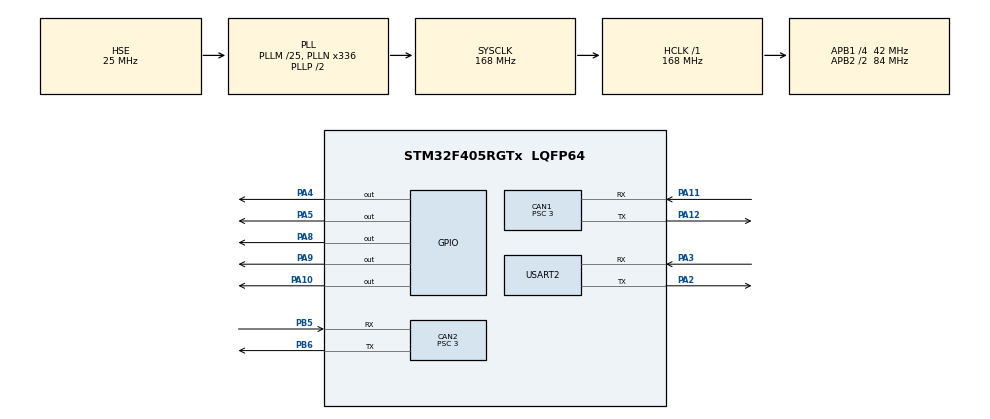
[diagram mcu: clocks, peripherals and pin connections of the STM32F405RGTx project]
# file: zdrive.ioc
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CAN1.AWUM=ENABLE
CAN1.BS1=CAN_BS1_9TQ
CAN1.BS2=CAN_BS2_4TQ
CAN1.CalculateBaudRate=1000000
CAN1.CalculateTimeBit=1000
CAN1.CalculateTimeQuantum=71.42857142857143
CAN1.Prescaler=3
CAN2.AWUM=ENABLE
CAN2.BS1=CAN_BS1_9TQ
CAN2.BS2=CAN_BS2_4TQ
CAN2.CalculateBaudRate=1000000
CAN2.CalculateTimeBit=1000
CAN2.CalculateTimeQuantum=71.42857142857143
CAN2.Prescaler=3
FREERTOS.Tasks01=defaultTask,24,256,is_get_enrygy,As weak,NULL,Dynamic,NULL,NULL;myTask02,24,256,launch,As weak,NULL,Dynamic,NULL,NULL;myTask03,24,256,dj,As weak,NULL,Dynamic,NULL,NULL
FREERTOS.configCHECK_FOR_STACK_OVERFLOW=2
FREERTOS.configMAX_TASK_NAME_LEN=20
FREERTOS.configMINIMAL_STACK_SIZE=64
FREERTOS.configUSE_MALLOC_FAILED_HOOK=1
Mcu.Family=STM32F4
Mcu.Name=STM32F405RGTx
Mcu.Package=LQFP64
NVIC.CAN1_RX0_IRQn=true\:5\:0\:false\:false\:true\:true\:true\:true\:true
NVIC.CAN1_RX1_IRQn=true\:5\:0\:false\:false\:true\:true\:true\:true\:true
NVIC.CAN1_TX_IRQn=true\:5\:0\:false\:false\:true\:true\:true\:true\:true
NVIC.CAN2_RX0_IRQn=true\:5\:0\:false\:false\:true\:true\:true\:true\:true
NVIC.CAN2_RX1_IRQn=true\:5\:0\:false\:false\:true\:true\:true\:true\:true
NVIC.CAN2_TX_IRQn=true\:5\:0\:false\:false\:true\:true\:true\:true\:true
NVIC.PriorityGroup=NVIC_PRIORITYGROUP_4
NVIC.TIM1_UP_TIM10_IRQn=true\:15\:0\:false\:false\:true\:false\:false\:true\:true
NVIC.TIM2_IRQn=true\:5\:0\:false\:false\:true\:true\:true\:true\:true
NVIC.TIM3_IRQn=true\:5\:0\:false\:false\:true\:true\:true\:true\:true
NVIC.TimeBase=TIM1_UP_TIM10_IRQn
NVIC.TimeBaseIP=TIM1
NVIC.USART2_IRQn=true\:5\:0\:false\:false\:true\:true\:true\:true\:true
PA10.Signal=GPIO_Output
PA11.Mode=CAN_Activate
PA11.Signal=CAN1_RX
PA12.Mode=CAN_Activate
PA12.Signal=CAN1_TX
PA13.Mode=Serial_Wire
PA13.Signal=SYS_JTMS-SWDIO
PA14.Mode=Serial_Wire
PA14.Signal=SYS_JTCK-SWCLK
PA2.Mode=Asynchronous
PA2.Signal=USART2_TX
PA3.GPIO_PuPd=GPIO_PULLUP
PA3.Mode=Asynchronous
PA3.Signal=USART2_RX
PA4.Signal=GPIO_Output
PA5.Signal=GPIO_Output
PA8.Signal=GPIO_Output
PA9.Signal=GPIO_Output
PB5.Mode=CAN_Activate
PB5.Signal=CAN2_RX
PB6.Mode=CAN_Activate
PB6.Signal=CAN2_TX
PH0-OSC_IN.Mode=HSE-External-Oscillator
PH0-OSC_IN.Signal=RCC_OSC_IN
PH1-OSC_OUT.Mode=HSE-External-Oscillator
PH1-OSC_OUT.Signal=RCC_OSC_OUT
ProjectManager.HeapSize=0x200
ProjectManager.StackSize=0x400
ProjectManager.TargetToolchain=MDK-ARM V5.32
RCC.48MHZClocksFreq_Value=84000000
RCC.AHBFreq_Value=168000000
RCC.APB1CLKDivider=RCC_HCLK_DIV4
RCC.APB1Freq_Value=42000000
RCC.APB1TimFreq_Value=84000000
RCC.APB2CLKDivider=RCC_HCLK_DIV2
RCC.APB2Freq_Value=84000000
RCC.APB2TimFreq_Value=168000000
RCC.CortexFreq_Value=168000000
RCC.HCLKFreq_Value=168000000
RCC.HSE_VALUE=25000000
RCC.HSI_VALUE=16000000
RCC.LSE_VALUE=32768
RCC.PLLM=25
RCC.PLLN=336
RCC.PLLSourceVirtual=RCC_PLLSOURCE_HSE
RCC.SYSCLKFreq_VALUE=168000000
RCC.SYSCLKSource=RCC_SYSCLKSOURCE_PLLCLK
RCC.VCOOutputFreq_Value=336000000
TIM2.Period=999
TIM2.Prescaler=167
TIM3.Period=9999
TIM3.Prescaler=167
USART2.VirtualMode=VM_ASYNC
VP_FREERTOS_VS_CMSIS_V2.Mode=CMSIS_V2
VP_SYS_VS_tim1.Mode=TIM1
VP_TIM2_VS_ClockSourceINT.Mode=Internal
VP_TIM3_VS_ClockSourceINT.Mode=Internal
board=custom

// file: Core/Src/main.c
/* USER CODE BEGIN Header */
/**
  ******************************************************************************
  * @file           : main.c
  * @brief          : Main program body
  ******************************************************************************
  * @attention
  *
  * Copyright (c) 2025 STMicroelectronics.
  * All rights reserved.
  *
  * This software is licensed under terms that can be found in the LICENSE file
  * in the root directory of this software component.
  * If no LICENSE file comes with this software, it is provided AS-IS.
  *
  ******************************************************************************
  */
/* USER CODE END Header */
#include "main.h"
#include "cmsis_os.h"
#include "can.h"
#include "tim.h"
#include "usart.h"
#include "gpio.h"

/* USER CODE BEGIN Includes */
#include "zdrive.h"
#include "stdint.h"
#include "stdio.h"
#include "bluetooth.h"
/* USER CODE END Includes */

/* USER CODE BEGIN PTD */
uint8_t uart_rx_byte;
/* USER CODE END PTD */
int a;
/* USER CODE BEGIN PD */
//extern void ZDrive_Func(void);
//extern void ZDrive_Init(void);
//extern void CAN_Queue_Init(CAN_QUEUE* can_queue, QueueEndian endian, uint8_t can_x);
/* USER CODE END PD */

void SystemClock_Config(void);
void MX_FREERTOS_Init(void);

int main(void)
{

  /* MCU Configuration--------------------------------------------------------*/

  /* Reset of all peripherals, Initializes the Flash interface and the Systick. */
  HAL_Init();

  /* Configure the system clock */
  SystemClock_Config();

  /* Initialize all configured peripherals */
  MX_GPIO_Init();
  MX_CAN1_Init();
  MX_CAN2_Init();
  MX_TIM3_Init();
  MX_TIM2_Init();
  MX_USART2_UART_Init();
  /* USER CODE BEGIN 2 */
	CAN_Queue_Init(&CAN2_Queue, endian, 2);
  CAN_Queue_Init(&ZDrive_Queue, endian, 1);
	ZDrive_Init();
  /* USER CODE END 2 */

  /* Init scheduler */
  osKernelInitialize();  /* Call init function for freertos objects (in cmsis_os2.c) */
  MX_FREERTOS_Init();

  /* Start scheduler */
  osKernelStart();

  /* We should never get here as control is now taken by the scheduler */

  /* Infinite loop */
  while (1)
  {

  }
}

void SystemClock_Config(void)
{
  RCC_OscInitTypeDef RCC_OscInitStruct = {0};
  RCC_ClkInitTypeDef RCC_ClkInitStruct = {0};

  /** Configure the main internal regulator output voltage
  */
  __HAL_RCC_PWR_CLK_ENABLE();
  __HAL_PWR_VOLTAGESCALING_CONFIG(PWR_REGULATOR_VOLTAGE_SCALE1);

  /** Initializes the RCC Oscillators according to the specified parameters
  * in the RCC_OscInitTypeDef structure.
  */
  RCC_OscInitStruct.OscillatorType = RCC_OSCILLATORTYPE_HSE;
  RCC_OscInitStruct.HSEState = RCC_HSE_ON;
  RCC_OscInitStruct.PLL.PLLState = RCC_PLL_ON;
  RCC_OscInitStruct.PLL.PLLSource = RCC_PLLSOURCE_HSE;
  RCC_OscInitStruct.PLL.PLLM = 25;
  RCC_OscInitStruct.PLL.PLLN = 336;
  RCC_OscInitStruct.PLL.PLLP = RCC_PLLP_DIV2;
  RCC_OscInitStruct.PLL.PLLQ = 4;
  if (HAL_RCC_OscConfig(&RCC_OscInitStruct) != HAL_OK)
  {
    Error_Handler();
  }

  /** Initializes the CPU, AHB and APB buses clocks
  */
  RCC_ClkInitStruct.ClockType = RCC_CLOCKTYPE_HCLK|RCC_CLOCKTYPE_SYSCLK
                              |RCC_CLOCKTYPE_PCLK1|RCC_CLOCKTYPE_PCLK2;
  RCC_ClkInitStruct.SYSCLKSource = RCC_SYSCLKSOURCE_PLLCLK;
  RCC_ClkInitStruct.AHBCLKDivider = RCC_SYSCLK_DIV1;
  RCC_ClkInitStruct.APB1CLKDivider = RCC_HCLK_DIV4;
  RCC_ClkInitStruct.APB2CLKDivider = RCC_HCLK_DIV2;

  if (HAL_RCC_ClockConfig(&RCC_ClkInitStruct, FLASH_LATENCY_5) != HAL_OK)
  {
    Error_Handler();
  }
}

/* USER CODE BEGIN 4 */
void HAL_CAN_RxFifo0MsgPendingCallback(CAN_HandleTypeDef* hcan){
	if(hcan->Instance==CAN2){
		if(HAL_CAN_GetRxMessage(hcan,CAN_RX_FIFO0,&M_RxHeader,rxmsg)!=HAL_OK){
	   Error_Handler();
		}
		HAL_CAN_GetRxMessage(hcan,CAN_RX_FIFO0,&M_RxHeader,rxmsg);
	}
}
void HAL_CAN_RxFifo1MsgPendingCallback(CAN_HandleTypeDef* hcan){
	if(hcan->Instance == CAN1){
		if(HAL_CAN_GetRxMessage(hcan,CAN_RX_FIFO1,&Z_RxHeader,RxData)==HAL_OK){
	   ZDrive_ReceiveHandler(&Z_RxHeader,RxData);
		}
		else{
		 Error_Handler();
		}

	}
}
void HAL_UART_RxCpltCallback(UART_HandleTypeDef* huart){
  if(huart->Instance==USART1){
	  Deal_RXPack(&PackMsg, uart_rx_byte);
		HAL_UART_Receive_IT(&huart2, &uart_rx_byte, 1);
	}
}

/* USER CODE END 4 */

void HAL_TIM_PeriodElapsedCallback(TIM_HandleTypeDef *htim)
{
  if (htim->Instance == TIM1)
  {
    HAL_IncTick();
  }
  /* USER CODE BEGIN Callback 1 */
	if(htim->Instance ==TIM3 ){
	  ZDrive_Func();
	}
	if(htim->Instance ==TIM2 ){
		 CAN_Queue_Pop(&ZDrive_Queue);
//		 CAN_Queue_Pop(&CAN2_Queue);
	}
  /* USER CODE END Callback 1 */
}

void Error_Handler(void)
{
  __disable_irq();
  while (1)
  {
  }
}

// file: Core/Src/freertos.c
/* USER CODE BEGIN Header */
/**
  ******************************************************************************
  * File Name          : freertos.c
  * Description        : Code for freertos applications
  ******************************************************************************
  * @attention
  *
  * Copyright (c) 2025 STMicroelectronics.
  * All rights reserved.
  *
  * This software is licensed under terms that can be found in the LICENSE file
  * in the root directory of this software component.
  * If no LICENSE file comes with this software, it is provided AS-IS.
  *
  ******************************************************************************
  */
/* USER CODE END Header */

#include "FreeRTOS.h"
#include "task.h"
#include "main.h"
#include "cmsis_os.h"

/* USER CODE BEGIN Includes */
#include "zdrive.h"
#include "valve.h"
#include "bluetooth.h"
/* USER CODE END Includes */

/* USER CODE BEGIN PTD */
uint8_t flag = 0;
uint8_t flag_rise = 0;
uint8_t flag_descend = 0;
uint8_t flag_advance = 0;
uint8_t flag_advance_second = 0;
int16_t speed_up = 0;
int16_t speed_down = 0;
uint8_t cmd=0;
/* USER CODE END PTD */

/* Definitions for defaultTask */
osThreadId_t defaultTaskHandle;
const osThreadAttr_t defaultTask_attributes = {
  .name = "defaultTask",
  .stack_size = 256 * 4,
  .priority = (osPriority_t) osPriorityNormal,
};
/* Definitions for myTask02 */
osThreadId_t myTask02Handle;
const osThreadAttr_t myTask02_attributes = {
  .name = "myTask02",
  .stack_size = 256 * 4,
  .priority = (osPriority_t) osPriorityNormal,
};
/* Definitions for myTask03 */
osThreadId_t myTask03Handle;
const osThreadAttr_t myTask03_attributes = {
  .name = "myTask03",
  .stack_size = 256 * 4,
  .priority = (osPriority_t) osPriorityNormal,
};

void is_get_enrygy(void *argument);
void launch(void *argument);
void dj(void *argument);

void MX_FREERTOS_Init(void); /* (MISRA C 2004 rule 8.1) */

/* Hook prototypes */
void vApplicationStackOverflowHook(xTaskHandle xTask, signed char *pcTaskName);
void vApplicationMallocFailedHook(void);

/* USER CODE BEGIN 4 */
void vApplicationStackOverflowHook(xTaskHandle xTask, signed char *pcTaskName)
{
   /* Run time stack overflow checking is performed if
   configCHECK_FOR_STACK_OVERFLOW is defined to 1 or 2. This hook function is
   called if a stack overflow is detected. */
}
/* USER CODE END 4 */

/* USER CODE BEGIN 5 */
void vApplicationMallocFailedHook(void)
{
   /* vApplicationMallocFailedHook() will only be called if
   configUSE_MALLOC_FAILED_HOOK is set to 1 in FreeRTOSConfig.h. It is a hook
   function that will get called if a call to pvPortMalloc() fails.
   pvPortMalloc() is called internally by the kernel whenever a task, queue,
   timer or semaphore is created. It is also called by various parts of the
   demo application. If heap_1.c or heap_2.c are used, then the size of the
   heap available to pvPortMalloc() is defined by configTOTAL_HEAP_SIZE in
   FreeRTOSConfig.h, and the xPortGetFreeHeapSize() API function can be used
   to query the size of free heap space that remains (although it does not
   provide information on how the remaining heap might be fragmented). */
}
/* USER CODE END 5 */

void MX_FREERTOS_Init(void) {

  /* Create the thread(s) */
  /* creation of defaultTask */
  defaultTaskHandle = osThreadNew(is_get_enrygy, NULL, &defaultTask_attributes);

  /* creation of myTask02 */
  myTask02Handle = osThreadNew(launch, NULL, &myTask02_attributes);

  /* creation of myTask03 */
  myTask03Handle = osThreadNew(dj, NULL, &myTask03_attributes);

}

__weak void is_get_enrygy(void *argument)
{
  /* USER CODE BEGIN is_get_enrygy */
  /* Infinite loop */
  for(;;)
  { uint32_t id = M_RxHeader.ExtId;
		if(id==0x01020100){
		   CAN_FRAME tx_frame;
       uint8_t data[8] = {'C', 'R'};
       CanCommand(&tx_frame, CAN_ID_EXT, 0x01020100, data, 2);
       CAN_Queue_Push(&CAN2_Queue, tx_frame);
		}
		if(id==0x010205FF){
		  __disable_irq();
      NVIC_SystemReset();
		}
		if(id==0x01020501){
			if(rxmsg[1]==0){
			  ZDrive[0].enable = false;
				ZDrive[0].begin = false;
				ZDrive[0].Mode = Zdrive_Disable;
				ZDrive[1].enable = false;
				ZDrive[1].begin = false;
				ZDrive[1].Mode = Zdrive_Disable;
				CAN_FRAME tx_frame;
        uint8_t data[8] = {'M', 0};
        CanCommand(&tx_frame, CAN_ID_EXT, 0x05020101, data, 2);
        CAN_Queue_Push(&CAN2_Queue, tx_frame);

			}
			if(rxmsg[1]==1){
			  ZDrive[0].enable = true;
				ZDrive[0].begin = true;
				ZDrive[0].Mode = Zdrive_Speed;
				ZDrive[1].enable = true;
				ZDrive[1].begin = true;
				ZDrive[1].Mode = Zdrive_Speed;
        CAN_FRAME tx_frame;
        uint8_t data[8] = {'M', 1};
        CanCommand(&tx_frame, CAN_ID_EXT, 0x05020101, data, 2);
        CAN_Queue_Push(&CAN2_Queue, tx_frame);
			}
		}
    osDelay(1);
  }
  /* USER CODE END is_get_enrygy */
}

__weak void launch(void *argument)
{
  /* USER CODE BEGIN launch */
  /* Infinite loop */
  for(;;)
  {
		if(RxMsgPack.bools[5]==1){
		  radiotube(cmd);
		}
    osDelay(1);
  }
  /* USER CODE END launch */
}

__weak void dj(void *argument)
{
  /* USER CODE BEGIN dj */
  /* Infinite loop */
  for(;;)
  { if(RxMsgPack.bools[0]==0){
	     for(int i=0;i<10;i++){
			     ZDrive[i].enable=0;
           ZDrive[i].begin=0;
           ZDrive[i].Mode=Zdrive_Disable;
			 }
		if(RxMsgPack.bools[0]==1){
	     for(int i=0;i<10;i++){
			     ZDrive[i].enable=1;
           ZDrive[i].begin=1;
           ZDrive[i].Mode=Zdrive_Position;
			 }
		if(RxMsgPack.bools[1]==1){
		   ZDrive[8].ValueSetNow.angle=100;
			 ZDrive[9].ValueSetNow.angle=100;
		}
		if(RxMsgPack.bools[2]==1){
		   for(int k=0;k<8;k++){
			      ZDrive[k].ValueSetNow.angle=100;
			 }
		}
		if(RxMsgPack.bools[3]==1){
		  ZDrive[8].ValueSetNow.angle=-100;
			ZDrive[9].ValueSetNow.angle=-100;
		}
		if(RxMsgPack.bools[4]==1){
		  for(int k=0;k<8;k++){
			      ZDrive[k].ValueSetNow.angle=100;
			 }
		}
	}
    osDelay(1);
  }
}
  /* USER CODE END dj */
}
